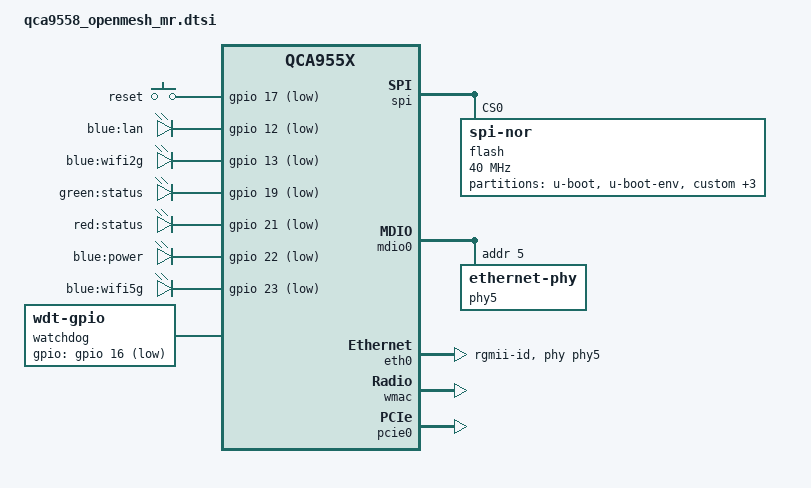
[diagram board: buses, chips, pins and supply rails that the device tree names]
// SPDX-License-Identifier: GPL-2.0-or-later OR MIT

#include "qca955x.dtsi"

#include <dt-bindings/gpio/gpio.h>
#include <dt-bindings/input/input.h>

/ {
	chosen {
		/delete-property/ bootargs;
	};

	aliases {
		serial0 = &uart;
		led-boot = &led_power_blue;
		led-failsafe = &led_power_blue;
		led-running = &led_power_blue;
		led-upgrade = &led_power_blue;
		label-mac-device = &eth0;
	};

	keys {
		compatible = "gpio-keys";

		reset {
			label = "reset";
			linux,code = <KEY_RESTART>;
			gpios = <&gpio 17 GPIO_ACTIVE_LOW>;
		};
	};

	leds {
		compatible = "gpio-leds";

		lan_blue {
			label = "blue:lan";
			gpios = <&gpio 12 GPIO_ACTIVE_LOW>;
		};

		led_wifi2g: wifi2g {
			label = "blue:wifi2g";
			gpios = <&gpio 13 GPIO_ACTIVE_LOW>;
		};

		status_green {
			label = "green:status";
			gpios = <&gpio 19 GPIO_ACTIVE_LOW>;
		};

		status_red {
			label = "red:status";
			gpios = <&gpio 21 GPIO_ACTIVE_LOW>;
		};

		led_power_blue: power_blue {
			label = "blue:power";
			gpios = <&gpio 22 GPIO_ACTIVE_LOW>;
			default-state = "on";
		};

		led_wifi5g: wifi5g {
			label = "blue:wifi5g";
			gpios = <&gpio 23 GPIO_ACTIVE_LOW>;
		};
	};

	watchdog {
		compatible = "linux,wdt-gpio";
		gpios = <&gpio 16 GPIO_ACTIVE_LOW>;
		hw_algo = "toggle";
		/* hw_margin_ms is actually 300s but driver limits it to 60s */
		hw_margin_ms = <60000>;
		always-running;
	};
};

&spi {
	status = "okay";

	flash@0 {
		compatible = "jedec,spi-nor";
		reg = <0>;
		spi-max-frequency = <40000000>;

		/* partitions are passed via bootloader */
		partitions {
			compatible = "fixed-partitions";
			#address-cells = <1>;
			#size-cells = <1>;

			partition@0 {
				label = "u-boot";
				reg = <0x000000 0x040000>;
				read-only;
			};

			partition@40000 {
				label = "u-boot-env";
				reg = <0x040000 0x010000>;
			};

			partition@50000 {
				label = "custom";
				reg = <0x050000 0x060000>;
				read-only;
			};

			partition@b0000 {
				label = "inactive";
				reg = <0x0b0000 0x7a0000>;
			};

			partition@850000 {
				label = "inactive2";
				reg = <0x850000 0x7a0000>;
			};

			art: partition@ff0000 {
				label = "ART";
				reg = <0xff0000 0x010000>;
				read-only;
			};
		};
	};
};

&mdio0 {
	status = "okay";

	phy-mask = <0x20>;

	phy5: ethernet-phy@5 {
		reg = <5>;
		eee-broken-100tx;
		eee-broken-1000t;
	};
};

&eth0 {
	status = "okay";

	pll-data = <0x82000000 0x80000101 0x80001313>;

	mtd-mac-address = <&art 0x0>;

	phy-mode = "rgmii-id";
	phy-handle = <&phy5>;

	gmac-config {
		device = <&gmac>;
		rgmii-enabled = <1>;
	};
};

&wmac {
	status = "okay";

	mtd-cal-data = <&art 0x1000>;
	mtd-mac-address = <&art 0x0>;
	mtd-mac-address-increment = <1>;
};

&pcie0 {
	status = "okay";
};
